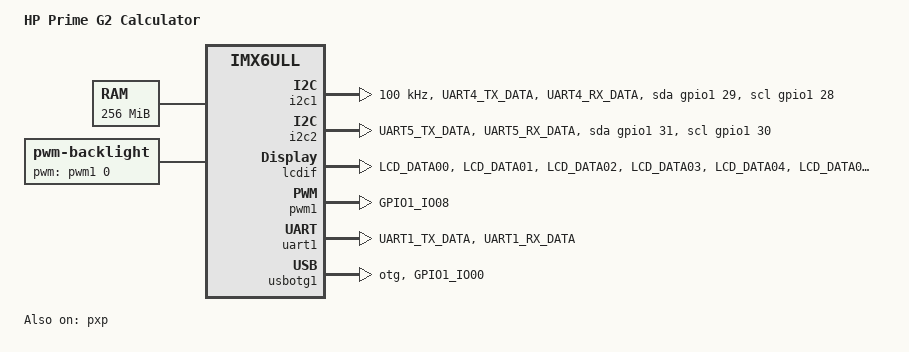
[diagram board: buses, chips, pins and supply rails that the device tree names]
/*
 * Copyright (C) 2016 Freescale Semiconductor, Inc.
 *
 * This program is free software; you can redistribute it and/or modify
 * it under the terms of the GNU General Public License version 2 as
 * published by the Free Software Foundation.
 */

/dts-v1/;

#include "imx6ull.dtsi"

/ {
	model = "HP Prime G2 Calculator";
	compatible = "fsl,imx6ull-prime", "fsl,imx6ull";

	chosen {
		stdout-path = &uart1;
	};

	memory {
		reg = <0x80000000 0x10000000>;
	};

	reserved-memory {
		#address-cells = <1>;
		#size-cells = <1>;
		ranges;

		linux,cma {
			compatible = "shared-dma-pool";
			reusable;
			size = <0x14000000>;
			linux,cma-default;
		};
	};

	backlight {
		compatible = "pwm-backlight";
		pwms = <&pwm1 0 5000000>;
		brightness-levels = <0 4 8 16 32 64 128 255>;
		default-brightness-level = <6>;
		status = "okay";
	};

	pxp_v4l2 {
		compatible = "fsl,imx6ul-pxp-v4l2", "fsl,imx6sx-pxp-v4l2", "fsl,imx6sl-pxp-v4l2";
		status = "okay";
	};
};

&cpu0 {
	arm-supply = <&reg_arm>;
	soc-supply = <&reg_soc>;
};
&gpc {
	fsl,cpu_pupscr_sw2iso = <0x1>;
	fsl,cpu_pupscr_sw = <0x0>;
	fsl,cpu_pdnscr_iso2sw = <0x1>;
	fsl,cpu_pdnscr_iso = <0x1>;
	fsl,ldo-bypass = <0>; /* DCDC, ldo-enable */
};

&i2c1 {
	clock-frequency = <100000>;
	pinctrl-names = "default", "gpio";
	pinctrl-0 = <&pinctrl_i2c1>;
	pinctrl-1 = <&pinctrl_i2c1_gpio>;
	scl-gpios = <&gpio1 28 GPIO_ACTIVE_HIGH>;
	sda-gpios = <&gpio1 29 GPIO_ACTIVE_HIGH>;
	status = "okay";

};

&i2c2 {
	clock_frequency = <100000>;
	pinctrl-names = "default", "gpio";
	pinctrl-0 = <&pinctrl_i2c2>;
	pinctrl-1 = <&pinctrl_i2c2_gpio>;
	scl-gpios = <&gpio1 30 GPIO_ACTIVE_HIGH>;
	sda-gpios = <&gpio1 31 GPIO_ACTIVE_HIGH>;
	status = "okay";

};

&iomuxc {
	pinctrl-names = "default";
	pinctrl-0 = <&pinctrl_hog_1>;
	imx6ul-evk {
		pinctrl_hog_1: hoggrp-1 {
			fsl,pins = <
				MX6UL_PAD_UART1_RTS_B__GPIO1_IO19	0x17059 /* SD1 CD */
				MX6UL_PAD_GPIO1_IO05__USDHC1_VSELECT	0x17059 /* SD1 VSELECT */
				MX6UL_PAD_GPIO1_IO09__GPIO1_IO09        0x17059 /* SD1 RESET */
			>;
		};

		pinctrl_csi1: csi1grp {
			fsl,pins = <
				MX6UL_PAD_CSI_MCLK__CSI_MCLK		0x1b088
				MX6UL_PAD_CSI_PIXCLK__CSI_PIXCLK	0x1b088
				MX6UL_PAD_CSI_VSYNC__CSI_VSYNC		0x1b088
				MX6UL_PAD_CSI_HSYNC__CSI_HSYNC		0x1b088
				MX6UL_PAD_CSI_DATA00__CSI_DATA02	0x1b088
				MX6UL_PAD_CSI_DATA01__CSI_DATA03	0x1b088
				MX6UL_PAD_CSI_DATA02__CSI_DATA04	0x1b088
				MX6UL_PAD_CSI_DATA03__CSI_DATA05	0x1b088
				MX6UL_PAD_CSI_DATA04__CSI_DATA06	0x1b088
				MX6UL_PAD_CSI_DATA05__CSI_DATA07	0x1b088
				MX6UL_PAD_CSI_DATA06__CSI_DATA08	0x1b088
				MX6UL_PAD_CSI_DATA07__CSI_DATA09	0x1b088
			>;
		};

		pinctrl_enet1: enet1grp {
			fsl,pins = <
				MX6UL_PAD_ENET1_RX_EN__ENET1_RX_EN	0x1b0b0
				MX6UL_PAD_ENET1_RX_ER__ENET1_RX_ER	0x1b0b0
				MX6UL_PAD_ENET1_RX_DATA0__ENET1_RDATA00	0x1b0b0
				MX6UL_PAD_ENET1_RX_DATA1__ENET1_RDATA01	0x1b0b0
				MX6UL_PAD_ENET1_TX_EN__ENET1_TX_EN	0x1b0b0
				MX6UL_PAD_ENET1_TX_DATA0__ENET1_TDATA00	0x1b0b0
				MX6UL_PAD_ENET1_TX_DATA1__ENET1_TDATA01	0x1b0b0
				MX6UL_PAD_ENET1_TX_CLK__ENET1_REF_CLK1	0x4001b031
			>;
		};

		pinctrl_enet2: enet2grp {
			fsl,pins = <
				MX6UL_PAD_GPIO1_IO07__ENET2_MDC		0x1b0b0
				MX6UL_PAD_GPIO1_IO06__ENET2_MDIO	0x1b0b0
				MX6UL_PAD_ENET2_RX_EN__ENET2_RX_EN	0x1b0b0
				MX6UL_PAD_ENET2_RX_ER__ENET2_RX_ER	0x1b0b0
				MX6UL_PAD_ENET2_RX_DATA0__ENET2_RDATA00	0x1b0b0
				MX6UL_PAD_ENET2_RX_DATA1__ENET2_RDATA01	0x1b0b0
				MX6UL_PAD_ENET2_TX_EN__ENET2_TX_EN	0x1b0b0
				MX6UL_PAD_ENET2_TX_DATA0__ENET2_TDATA00	0x1b0b0
				MX6UL_PAD_ENET2_TX_DATA1__ENET2_TDATA01	0x1b0b0
				MX6UL_PAD_ENET2_TX_CLK__ENET2_REF_CLK2	0x4001b031
			>;
		};

		pinctrl_flexcan1: flexcan1grp{
			fsl,pins = <
				MX6UL_PAD_UART3_RTS_B__FLEXCAN1_RX	0x1b020
				MX6UL_PAD_UART3_CTS_B__FLEXCAN1_TX	0x1b020
			>;
		};

		pinctrl_flexcan2: flexcan2grp{
			fsl,pins = <
				MX6UL_PAD_UART2_RTS_B__FLEXCAN2_RX	0x1b020
				MX6UL_PAD_UART2_CTS_B__FLEXCAN2_TX	0x1b020
			>;
		};

		pinctrl_i2c1: i2c1grp {
			fsl,pins = <
				MX6UL_PAD_UART4_TX_DATA__I2C1_SCL 0x4001b8b0
				MX6UL_PAD_UART4_RX_DATA__I2C1_SDA 0x4001b8b0
			>;
		};

		pinctrl_i2c1_gpio: i2c1grp_gpio {
			fsl,pins = <
				MX6UL_PAD_UART4_TX_DATA__GPIO1_IO28 0x1b8b0
				MX6UL_PAD_UART4_RX_DATA__GPIO1_IO29 0x1b8b0
			>;
		};

		pinctrl_i2c2: i2c2grp {
			fsl,pins = <
				MX6UL_PAD_UART5_TX_DATA__I2C2_SCL 0x4001b8b0
				MX6UL_PAD_UART5_RX_DATA__I2C2_SDA 0x4001b8b0
			>;
		};

		pinctrl_i2c2_gpio: i2c2grp_gpio {
			fsl,pins = <
				MX6UL_PAD_UART5_TX_DATA__GPIO1_IO30 0x1b8b0
				MX6UL_PAD_UART5_RX_DATA__GPIO1_IO31 0x1b8b0
			>;
		};

		pinctrl_lcdif_dat: lcdifdatgrp {
			fsl,pins = <
				MX6UL_PAD_LCD_DATA00__LCDIF_DATA00  0x79
				MX6UL_PAD_LCD_DATA01__LCDIF_DATA01  0x79
				MX6UL_PAD_LCD_DATA02__LCDIF_DATA02  0x79
				MX6UL_PAD_LCD_DATA03__LCDIF_DATA03  0x79
				MX6UL_PAD_LCD_DATA04__LCDIF_DATA04  0x79
				MX6UL_PAD_LCD_DATA05__LCDIF_DATA05  0x79
				MX6UL_PAD_LCD_DATA06__LCDIF_DATA06  0x79
				MX6UL_PAD_LCD_DATA07__LCDIF_DATA07  0x79
			>;
		};

		pinctrl_lcdif_ctrl: lcdifctrlgrp {
			fsl,pins = <
				MX6UL_PAD_LCD_CLK__LCDIF_CLK	    0x79
				MX6UL_PAD_LCD_ENABLE__LCDIF_ENABLE  0x79
				MX6UL_PAD_LCD_HSYNC__LCDIF_HSYNC    0x79
				MX6UL_PAD_LCD_VSYNC__LCDIF_VSYNC    0x79
			>;
		};

		pinctrl_pwm1: pwm1grp {
			fsl,pins = <
				MX6UL_PAD_GPIO1_IO08__PWM1_OUT   0x110b0
			>;
		};

		pinctrl_qspi: qspigrp {
			fsl,pins = <
				MX6UL_PAD_NAND_WP_B__QSPI_A_SCLK      0x70a1
				MX6UL_PAD_NAND_READY_B__QSPI_A_DATA00 0x70a1
				MX6UL_PAD_NAND_CE0_B__QSPI_A_DATA01   0x70a1
				MX6UL_PAD_NAND_CE1_B__QSPI_A_DATA02   0x70a1
				MX6UL_PAD_NAND_CLE__QSPI_A_DATA03     0x70a1
				MX6UL_PAD_NAND_DQS__QSPI_A_SS0_B      0x70a1
			>;
		};

		pinctrl_sai2: sai2grp {
			fsl,pins = <
				MX6UL_PAD_JTAG_TDI__SAI2_TX_BCLK	0x17088
				MX6UL_PAD_JTAG_TDO__SAI2_TX_SYNC	0x17088
				MX6UL_PAD_JTAG_TRST_B__SAI2_TX_DATA	0x11088
				MX6UL_PAD_JTAG_TCK__SAI2_RX_DATA	0x11088
				MX6UL_PAD_JTAG_TMS__SAI2_MCLK		0x17088
			>;
		};

		pinctrl_tsc: tscgrp {
			fsl,pins = <
				MX6UL_PAD_GPIO1_IO01__GPIO1_IO01	0xb0
				MX6UL_PAD_GPIO1_IO02__GPIO1_IO02	0xb0
				MX6UL_PAD_GPIO1_IO03__GPIO1_IO03	0xb0
				MX6UL_PAD_GPIO1_IO04__GPIO1_IO04	0xb0
			>;
		};

		pinctrl_uart1: uart1grp {
			fsl,pins = <
				MX6UL_PAD_UART1_TX_DATA__UART1_DCE_TX 0x1b0b1
				MX6UL_PAD_UART1_RX_DATA__UART1_DCE_RX 0x1b0b1
			>;
		};

		pinctrl_uart2: uart2grp {
			fsl,pins = <
				MX6UL_PAD_UART2_TX_DATA__UART2_DCE_TX	0x1b0b1
				MX6UL_PAD_UART2_RX_DATA__UART2_DCE_RX	0x1b0b1
				MX6UL_PAD_UART3_RX_DATA__UART2_DCE_RTS	0x1b0b1
				MX6UL_PAD_UART3_TX_DATA__UART2_DCE_CTS	0x1b0b1
			>;
		};

		pinctrl_uart2dte: uart2dtegrp {
			fsl,pins = <
				MX6UL_PAD_UART2_TX_DATA__UART2_DTE_RX	0x1b0b1
				MX6UL_PAD_UART2_RX_DATA__UART2_DTE_TX	0x1b0b1
				MX6UL_PAD_UART3_RX_DATA__UART2_DTE_CTS	0x1b0b1
				MX6UL_PAD_UART3_TX_DATA__UART2_DTE_RTS	0x1b0b1
			>;
		};

		pinctrl_usb_otg1_id: usbotg1idgrp {
			fsl,pins = <
				MX6UL_PAD_GPIO1_IO00__ANATOP_OTG1_ID    0x17059
			>;
		};

		pinctrl_usdhc1: usdhc1grp {
			fsl,pins = <
				MX6UL_PAD_SD1_CMD__USDHC1_CMD     0x17059
				MX6UL_PAD_SD1_CLK__USDHC1_CLK     0x10071
				MX6UL_PAD_SD1_DATA0__USDHC1_DATA0 0x17059
				MX6UL_PAD_SD1_DATA1__USDHC1_DATA1 0x17059
				MX6UL_PAD_SD1_DATA2__USDHC1_DATA2 0x17059
				MX6UL_PAD_SD1_DATA3__USDHC1_DATA3 0x17059
			>;
		};

		pinctrl_usdhc1_100mhz: usdhc1grp100mhz {
			fsl,pins = <
				MX6UL_PAD_SD1_CMD__USDHC1_CMD     0x170b9
				MX6UL_PAD_SD1_CLK__USDHC1_CLK     0x100b9
				MX6UL_PAD_SD1_DATA0__USDHC1_DATA0 0x170b9
				MX6UL_PAD_SD1_DATA1__USDHC1_DATA1 0x170b9
				MX6UL_PAD_SD1_DATA2__USDHC1_DATA2 0x170b9
				MX6UL_PAD_SD1_DATA3__USDHC1_DATA3 0x170b9
			>;
		};

		pinctrl_usdhc1_200mhz: usdhc1grp200mhz {
			fsl,pins = <
				MX6UL_PAD_SD1_CMD__USDHC1_CMD     0x170f9
				MX6UL_PAD_SD1_CLK__USDHC1_CLK     0x100f9
				MX6UL_PAD_SD1_DATA0__USDHC1_DATA0 0x170f9
				MX6UL_PAD_SD1_DATA1__USDHC1_DATA1 0x170f9
				MX6UL_PAD_SD1_DATA2__USDHC1_DATA2 0x170f9
				MX6UL_PAD_SD1_DATA3__USDHC1_DATA3 0x170f9
			>;
		};

		pinctrl_usdhc2: usdhc2grp {
			fsl,pins = <
				MX6UL_PAD_NAND_RE_B__USDHC2_CLK     0x10069
				MX6UL_PAD_NAND_WE_B__USDHC2_CMD     0x17059
				MX6UL_PAD_NAND_DATA00__USDHC2_DATA0 0x17059
				MX6UL_PAD_NAND_DATA01__USDHC2_DATA1 0x17059
				MX6UL_PAD_NAND_DATA02__USDHC2_DATA2 0x17059
				MX6UL_PAD_NAND_DATA03__USDHC2_DATA3 0x17059
			>;
		};

		pinctrl_usdhc2_8bit: usdhc2grp_8bit {
			fsl,pins = <
				MX6UL_PAD_NAND_RE_B__USDHC2_CLK     0x10069
				MX6UL_PAD_NAND_WE_B__USDHC2_CMD     0x17059
				MX6UL_PAD_NAND_DATA00__USDHC2_DATA0 0x17059
				MX6UL_PAD_NAND_DATA01__USDHC2_DATA1 0x17059
				MX6UL_PAD_NAND_DATA02__USDHC2_DATA2 0x17059
				MX6UL_PAD_NAND_DATA03__USDHC2_DATA3 0x17059
				MX6UL_PAD_NAND_DATA04__USDHC2_DATA4 0x17059
				MX6UL_PAD_NAND_DATA05__USDHC2_DATA5 0x17059
				MX6UL_PAD_NAND_DATA06__USDHC2_DATA6 0x17059
				MX6UL_PAD_NAND_DATA07__USDHC2_DATA7 0x17059
			>;
		};

		pinctrl_usdhc2_8bit_100mhz: usdhc2grp_8bit_100mhz {
			fsl,pins = <
				MX6UL_PAD_NAND_RE_B__USDHC2_CLK     0x100b9
				MX6UL_PAD_NAND_WE_B__USDHC2_CMD     0x170b9
				MX6UL_PAD_NAND_DATA00__USDHC2_DATA0 0x170b9
				MX6UL_PAD_NAND_DATA01__USDHC2_DATA1 0x170b9
				MX6UL_PAD_NAND_DATA02__USDHC2_DATA2 0x170b9
				MX6UL_PAD_NAND_DATA03__USDHC2_DATA3 0x170b9
				MX6UL_PAD_NAND_DATA04__USDHC2_DATA4 0x170b9
				MX6UL_PAD_NAND_DATA05__USDHC2_DATA5 0x170b9
				MX6UL_PAD_NAND_DATA06__USDHC2_DATA6 0x170b9
				MX6UL_PAD_NAND_DATA07__USDHC2_DATA7 0x170b9
			>;
		};

		pinctrl_usdhc2_8bit_200mhz: usdhc2grp_8bit_200mhz {
			fsl,pins = <
				MX6UL_PAD_NAND_RE_B__USDHC2_CLK     0x100f9
				MX6UL_PAD_NAND_WE_B__USDHC2_CMD     0x170f9
				MX6UL_PAD_NAND_DATA00__USDHC2_DATA0 0x170f9
				MX6UL_PAD_NAND_DATA01__USDHC2_DATA1 0x170f9
				MX6UL_PAD_NAND_DATA02__USDHC2_DATA2 0x170f9
				MX6UL_PAD_NAND_DATA03__USDHC2_DATA3 0x170f9
				MX6UL_PAD_NAND_DATA04__USDHC2_DATA4 0x170f9
				MX6UL_PAD_NAND_DATA05__USDHC2_DATA5 0x170f9
				MX6UL_PAD_NAND_DATA06__USDHC2_DATA6 0x170f9
				MX6UL_PAD_NAND_DATA07__USDHC2_DATA7 0x170f9
			>;
		};

		pinctrl_wdog: wdoggrp {
			fsl,pins = <
				MX6UL_PAD_LCD_RESET__WDOG1_WDOG_ANY    0x30b0
			>;
		};
	};
};

&iomuxc_snvs {
	pinctrl-names = "default_snvs";
        pinctrl-0 = <&pinctrl_hog_2>;
        imx6ul-evk {
		pinctrl_hog_2: hoggrp-2 {
                        fsl,pins = <
                                MX6ULL_PAD_SNVS_TAMPER0__GPIO5_IO00      0x80000000
                        >;
                };
        };
};


&lcdif {
	pinctrl-names = "default";
	pinctrl-0 = <&pinctrl_lcdif_dat
		     &pinctrl_lcdif_ctrl>;
	display = <&display0>;
	status = "okay";

	display0: display {
		bits-per-pixel = <16>;
		bus-width = <8>;

		display-timings {
			native-mode = <&timing0>;
			timing0: timing0 {
			clock-frequency = <9200000>;
			hactive = <320>;
			vactive = <240>;
			hfront-porch = <8>;
			hback-porch = <4>;
			hsync-len = <41>;
			vback-porch = <2>;
			vfront-porch = <4>;
			vsync-len = <10>;

			hsync-active = <0>;
			vsync-active = <0>;
			de-active = <1>;
			pixelclk-active = <0>;
			};
		};
	};
};

&pwm1 {
	pinctrl-names = "default";
	pinctrl-0 = <&pinctrl_pwm1>;
	status = "okay";
};

&pxp {
	status = "okay";
};

&uart1 {
	pinctrl-names = "default";
	pinctrl-0 = <&pinctrl_uart1>;
	status = "okay";
};

&usbotg1 {
	pinctrl-names = "default";
	pinctrl-0 = <&pinctrl_usb_otg1_id>;
	dr_mode = "otg";
	srp-disable;
	hnp-disable;
	adp-disable;
	status = "okay";
};

&usbphy1 {
	tx-d-cal = <0x5>;
};

&wdog1 {
	pinctrl-names = "default";
	pinctrl-0 = <&pinctrl_wdog>;
	fsl,wdog_b;
};
